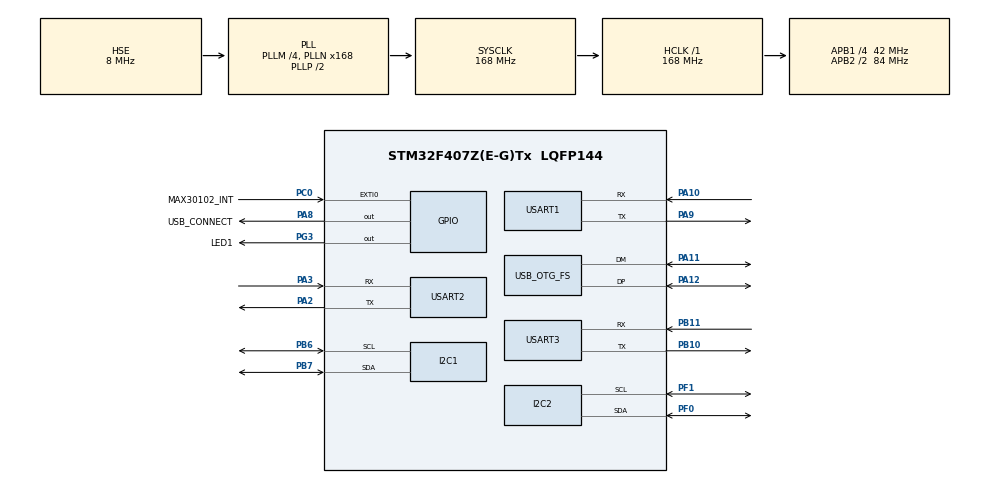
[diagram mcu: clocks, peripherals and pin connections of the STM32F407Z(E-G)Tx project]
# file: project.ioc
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Dma.Request0=USART3_RX
Dma.Request1=USART3_TX
Dma.USART3_RX.0.Direction=DMA_PERIPH_TO_MEMORY
Dma.USART3_RX.0.FIFOMode=DMA_FIFOMODE_DISABLE
Dma.USART3_RX.0.Instance=DMA1_Stream1
Dma.USART3_RX.0.MemDataAlignment=DMA_MDATAALIGN_BYTE
Dma.USART3_RX.0.MemInc=DMA_MINC_ENABLE
Dma.USART3_RX.0.Mode=DMA_NORMAL
Dma.USART3_RX.0.PeriphDataAlignment=DMA_PDATAALIGN_BYTE
Dma.USART3_RX.0.PeriphInc=DMA_PINC_DISABLE
Dma.USART3_RX.0.Priority=DMA_PRIORITY_LOW
Dma.USART3_TX.1.Direction=DMA_MEMORY_TO_PERIPH
Dma.USART3_TX.1.FIFOMode=DMA_FIFOMODE_DISABLE
Dma.USART3_TX.1.Instance=DMA1_Stream3
Dma.USART3_TX.1.MemDataAlignment=DMA_MDATAALIGN_BYTE
Dma.USART3_TX.1.MemInc=DMA_MINC_ENABLE
Dma.USART3_TX.1.Mode=DMA_NORMAL
Dma.USART3_TX.1.PeriphDataAlignment=DMA_PDATAALIGN_BYTE
Dma.USART3_TX.1.PeriphInc=DMA_PINC_DISABLE
Dma.USART3_TX.1.Priority=DMA_PRIORITY_LOW
FREERTOS.BinarySemaphores01=LED_FLAG_Sem,Dynamic,NULL
FREERTOS.INCLUDE_eTaskGetState=1
FREERTOS.INCLUDE_pcTaskGetTaskName=1
FREERTOS.INCLUDE_uxTaskGetStackHighWaterMark=1
FREERTOS.INCLUDE_uxTaskGetStackHighWaterMark2=1
FREERTOS.INCLUDE_vTaskCleanUpResources=1
FREERTOS.INCLUDE_vTaskDelayUntil=1
FREERTOS.INCLUDE_xEventGroupSetBitFromISR=1
FREERTOS.INCLUDE_xQueueGetMutexHolder=1
FREERTOS.INCLUDE_xSemaphoreGetMutexHolder=1
FREERTOS.INCLUDE_xTaskAbortDelay=1
FREERTOS.INCLUDE_xTaskGetCurrentTaskHandle=1
FREERTOS.INCLUDE_xTaskGetHandle=1
FREERTOS.INCLUDE_xTimerPendFunctionCall=1
FREERTOS.Queues01=myQueue01,16,float,0,Dynamic,NULL,NULL;myQueue02,16,_Bool,0,Dynamic,NULL,NULL
FREERTOS.Tasks01=INFO_Task,0,128,INFOTask,Default,NULL,Dynamic,NULL,NULL;BH1750_Task,0,128,BH1750Task,Default,NULL,Dynamic,NULL,NULL;LED_Task,0,128,LEDTask,Default,NULL,Dynamic,NULL,NULL;OneNET_Task,0,128,OneNETTask,Default,NULL,Dynamic,NULL,NULL;MAX30102_Task,0,128,MAX30102Task,Default,NULL,Dynamic,NULL,NULL
FREERTOS.Timers01=myTimer01,myTimer01_Callback,osTimerPeriodic,Default,NULL,Dynamic,NULL
FREERTOS.configUSE_TIMERS=1
Mcu.Family=STM32F4
Mcu.Name=STM32F407Z(E-G)Tx
Mcu.Package=LQFP144
NVIC.DMA1_Stream1_IRQn=true\:5\:0\:false\:false\:true\:true\:false\:true
NVIC.DMA1_Stream3_IRQn=true\:5\:0\:false\:false\:true\:true\:false\:true
NVIC.EXTI0_IRQn=true\:5\:0\:false\:false\:true\:true\:true\:true
NVIC.OTG_FS_IRQn=true\:5\:0\:false\:false\:true\:true\:false\:true
NVIC.PriorityGroup=NVIC_PRIORITYGROUP_4
NVIC.TIM1_UP_TIM10_IRQn=true\:15\:0\:false\:false\:true\:false\:false\:true
NVIC.TimeBase=TIM1_UP_TIM10_IRQn
NVIC.TimeBaseIP=TIM1
NVIC.USART2_IRQn=true\:5\:0\:false\:false\:true\:true\:true\:true
NVIC.WWDG_IRQn=true\:5\:0\:false\:false\:true\:true\:true\:true
PA10.Mode=Asynchronous
PA10.Signal=USART1_RX
PA11.Mode=Device_Only
PA11.Signal=USB_OTG_FS_DM
PA12.Mode=Device_Only
PA12.Signal=USB_OTG_FS_DP
PA13.Mode=Serial_Wire
PA13.Signal=SYS_JTMS-SWDIO
PA14.Mode=Serial_Wire
PA14.Signal=SYS_JTCK-SWCLK
PA2.Mode=Asynchronous
PA2.Signal=USART2_TX
PA3.Mode=Asynchronous
PA3.Signal=USART2_RX
PA8.GPIO_Label=USB_CONNECT
PA8.GPIO_Speed=GPIO_SPEED_FREQ_VERY_HIGH
PA8.Signal=GPIO_Output
PA9.Mode=Asynchronous
PA9.Signal=USART1_TX
PB10.Mode=Asynchronous
PB10.Signal=USART3_TX
PB11.Mode=Asynchronous
PB11.Signal=USART3_RX
PB6.Mode=I2C
PB6.Signal=I2C1_SCL
PB7.Mode=I2C
PB7.Signal=I2C1_SDA
PC0.GPIO_Label=MAX30102_INT
PC0.GPIO_PuPd=GPIO_PULLUP
PC0.Signal=GPXTI0
PC14-OSC32_IN.Mode=LSE-External-Oscillator
PC14-OSC32_IN.Signal=RCC_OSC32_IN
PC15-OSC32_OUT.Mode=LSE-External-Oscillator
PC15-OSC32_OUT.Signal=RCC_OSC32_OUT
PF0.Mode=I2C
PF0.Signal=I2C2_SDA
PF1.Mode=I2C
PF1.Signal=I2C2_SCL
PG3.GPIO_Label=LED1
PG3.GPIO_PuPd=GPIO_PULLUP
PG3.GPIO_Speed=GPIO_SPEED_FREQ_VERY_HIGH
PG3.Signal=GPIO_Output
PH0-OSC_IN.Mode=HSE-External-Oscillator
PH0-OSC_IN.Signal=RCC_OSC_IN
PH1-OSC_OUT.Mode=HSE-External-Oscillator
PH1-OSC_OUT.Signal=RCC_OSC_OUT
ProjectManager.HeapSize=0x200
ProjectManager.StackSize=0x400
ProjectManager.TargetToolchain=MDK-ARM V5
RCC.48MHZClocksFreq_Value=48000000
RCC.AHBFreq_Value=168000000
RCC.APB1CLKDivider=RCC_HCLK_DIV4
RCC.APB1Freq_Value=42000000
RCC.APB1TimFreq_Value=84000000
RCC.APB2CLKDivider=RCC_HCLK_DIV2
RCC.APB2Freq_Value=84000000
RCC.APB2TimFreq_Value=168000000
RCC.CortexFreq_Value=168000000
RCC.HCLKFreq_Value=168000000
RCC.HSE_VALUE=8000000
RCC.HSI_VALUE=16000000
RCC.PLLM=4
RCC.PLLN=168
RCC.PLLQ=7
RCC.RCC_RTC_Clock_Source=RCC_RTCCLKSOURCE_LSE
RCC.RCC_RTC_Clock_SourceVirtual=RCC_RTCCLKSOURCE_LSE
RCC.SYSCLKFreq_VALUE=168000000
RCC.SYSCLKSource=RCC_SYSCLKSOURCE_PLLCLK
RCC.VCOOutputFreq_Value=336000000
RTC.Date=26
RTC.Hours=23
RTC.Month=RTC_MONTH_MAY
RTC.WeekDay=RTC_WEEKDAY_FRIDAY
RTC.Year=23
STMicroelectronics.X-CUBE-ALGOBUILD.1.3.0.LibraryCcDSPOoLibraryJjDSPOoLibrary=true
USART1.VirtualMode=VM_ASYNC
USART2.VirtualMode=VM_ASYNC
USART3.VirtualMode=VM_ASYNC
USB_DEVICE.CLASS_NAME_FS=CDC
USB_DEVICE.VirtualMode-CDC_FS=Cdc
USB_DEVICE.VirtualModeFS=Cdc_FS
USB_OTG_FS.VirtualMode=Device_Only
VP_FREERTOS_VS_CMSIS_V1.Mode=CMSIS_V1
VP_RTC_VS_RTC_Activate.Mode=RTC_Enabled
VP_RTC_VS_RTC_Calendar.Mode=RTC_Calendar
VP_STMicroelectronics.X-CUBE-ALGOBUILD_VS_DSPOoLibraryJjLibrary_1.3.0_1.3.0.Mode=DSPOoLibraryJjLibrary
VP_SYS_VS_tim1.Mode=TIM1
VP_USB_DEVICE_VS_USB_DEVICE_CDC_FS.Mode=CDC_FS
VP_WWDG_VS_WWDG.Mode=WWDG_Activate
WWDG.Counter=0x7f
WWDG.EWIMode=WWDG_EWI_ENABLE
WWDG.Prescaler=WWDG_PRESCALER_8
WWDG.Window=0x5f
board=custom

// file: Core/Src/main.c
/* USER CODE BEGIN Header */
/**
  ******************************************************************************
  * @file           : main.c
  * @brief          : Main program body
  ******************************************************************************
  * @attention
  *
  * <h2><center>&copy; Copyright (c) 2023 STMicroelectronics.
  * All rights reserved.</center></h2>
  *
  * This software component is licensed by ST under Ultimate Liberty license
  * SLA0044, the "License"; You may not use this file except in compliance with
  * the License. You may obtain a copy of the License at:
  *                             www.st.com/SLA0044
  *
  ******************************************************************************
  */
/* USER CODE END Header */
#include "main.h"
#include "cmsis_os.h"
#include "dma.h"
#include "i2c.h"
#include "rtc.h"
#include "usart.h"
#include "usb_device.h"
#include "wwdg.h"
#include "gpio.h"

/* USER CODE BEGIN Includes */
#include "COMMON/bsp_common.h"
#include "COMMON/bsp_headfile.h"
#include "usbd_cdc_if.h"

#include "BH1750/bsp_bh1750.h"
#include "ESP/bsp_esp01s.h"
#include "MQTT/MqttKit.h"
#include "ONENET/onenet.h"
#include "MAX30102/bsp_max30102.h"
#include "MAX30102/bsp_max30102_fir.h"
/* USER CODE END Includes */

void SystemClock_Config(void);
void MX_FREERTOS_Init(void);

int main(void)
{

  /* MCU Configuration--------------------------------------------------------*/

  /* Reset of all peripherals, Initializes the Flash interface and the Systick. */
  HAL_Init();

  /* Configure the system clock */
  SystemClock_Config();

  /* Initialize all configured peripherals */
  MX_GPIO_Init();
  MX_USART1_UART_Init();
  MX_I2C1_Init();
  MX_USART2_UART_Init();
  MX_I2C2_Init();
  MX_DMA_Init();
  MX_USART3_UART_Init();
  MX_WWDG_Init();
  MX_RTC_Init();
  /* USER CODE BEGIN 2 */
	MX_USB_DEVICE_Init();
  /* USER CODE END 2 */

  /* Call init function for freertos objects (in freertos.c) */
  MX_FREERTOS_Init();
  /* Start scheduler */
  osKernelStart();

  /* We should never get here as control is now taken by the scheduler */
  /* Infinite loop */
  while (1)
  {

  }
}

void SystemClock_Config(void)
{
  RCC_OscInitTypeDef RCC_OscInitStruct = {0};
  RCC_ClkInitTypeDef RCC_ClkInitStruct = {0};

  /** Configure the main internal regulator output voltage
  */
  __HAL_RCC_PWR_CLK_ENABLE();
  __HAL_PWR_VOLTAGESCALING_CONFIG(PWR_REGULATOR_VOLTAGE_SCALE1);
  /** Initializes the RCC Oscillators according to the specified parameters
  * in the RCC_OscInitTypeDef structure.
  */
  RCC_OscInitStruct.OscillatorType = RCC_OSCILLATORTYPE_HSE|RCC_OSCILLATORTYPE_LSE;
  RCC_OscInitStruct.HSEState = RCC_HSE_ON;
  RCC_OscInitStruct.LSEState = RCC_LSE_ON;
  RCC_OscInitStruct.PLL.PLLState = RCC_PLL_ON;
  RCC_OscInitStruct.PLL.PLLSource = RCC_PLLSOURCE_HSE;
  RCC_OscInitStruct.PLL.PLLM = 4;
  RCC_OscInitStruct.PLL.PLLN = 168;
  RCC_OscInitStruct.PLL.PLLP = RCC_PLLP_DIV2;
  RCC_OscInitStruct.PLL.PLLQ = 7;
  if (HAL_RCC_OscConfig(&RCC_OscInitStruct) != HAL_OK)
  {
    Error_Handler();
  }
  /** Initializes the CPU, AHB and APB buses clocks
  */
  RCC_ClkInitStruct.ClockType = RCC_CLOCKTYPE_HCLK|RCC_CLOCKTYPE_SYSCLK
                              |RCC_CLOCKTYPE_PCLK1|RCC_CLOCKTYPE_PCLK2;
  RCC_ClkInitStruct.SYSCLKSource = RCC_SYSCLKSOURCE_PLLCLK;
  RCC_ClkInitStruct.AHBCLKDivider = RCC_SYSCLK_DIV1;
  RCC_ClkInitStruct.APB1CLKDivider = RCC_HCLK_DIV4;
  RCC_ClkInitStruct.APB2CLKDivider = RCC_HCLK_DIV2;

  if (HAL_RCC_ClockConfig(&RCC_ClkInitStruct, FLASH_LATENCY_5) != HAL_OK)
  {
    Error_Handler();
  }
}

void HAL_TIM_PeriodElapsedCallback(TIM_HandleTypeDef *htim)
{
  if (htim->Instance == TIM1) {
    HAL_IncTick();
  }
}

void Error_Handler(void)
{
  __disable_irq();
  while (1)
  {
  }
}

/************************ (C) COPYRIGHT STMicroelectronics *****END OF FILE****/

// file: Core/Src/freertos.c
/* USER CODE BEGIN Header */
/**
  ******************************************************************************
  * File Name          : freertos.c
  * Description        : Code for freertos applications
  ******************************************************************************
  * @attention
  *
  * <h2><center>&copy; Copyright (c) 2023 STMicroelectronics.
  * All rights reserved.</center></h2>
  *
  * This software component is licensed by ST under Ultimate Liberty license
  * SLA0044, the "License"; You may not use this file except in compliance with
  * the License. You may obtain a copy of the License at:
  *                             www.st.com/SLA0044
  *
  ******************************************************************************
  */
/* USER CODE END Header */

#include "FreeRTOS.h"
#include "task.h"
#include "main.h"
#include "cmsis_os.h"

/* USER CODE BEGIN Includes */
#include "COMMON/bsp_common.h"
#include "COMMON/bsp_headfile.h"

#include "BH1750/bsp_bh1750.h"
#include "ESP/bsp_esp01s.h"
#include "MQTT/MqttKit.h"
#include "ONENET/onenet.h"
#include "MAX30102/bsp_max30102.h"
#include "MAX30102/bsp_max30102_fir.h"
/* USER CODE END Includes */

/* USER CODE BEGIN Variables */

RTC_DateTypeDef GetData;  //获取日期结构体
RTC_TimeTypeDef GetTime;   //获取时间结构体

uint8_t FeedDog_Flag = 0;

float LIGH_OneNET_buf;
uint8_t LEDS_OneNET_buf;
/* USER CODE END Variables */
osThreadId INFO_TaskHandle;
osThreadId BH1750_TaskHandle;
osThreadId LED_TaskHandle;
osThreadId OneNET_TaskHandle;
osThreadId MAX30102_TaskHandle;
osMessageQId myQueue01Handle;
osMessageQId myQueue02Handle;
osTimerId myTimer01Handle;
osSemaphoreId LED_FLAG_SemHandle;

void INFOTask(void const * argument);
void BH1750Task(void const * argument);
void LEDTask(void const * argument);
void OneNETTask(void const * argument);
void MAX30102Task(void const * argument);
void myTimer01_Callback(void const * argument);

extern void MX_USB_DEVICE_Init(void);
void MX_FREERTOS_Init(void); /* (MISRA C 2004 rule 8.1) */

/* GetIdleTaskMemory prototype (linked to static allocation support) */
void vApplicationGetIdleTaskMemory( StaticTask_t **ppxIdleTaskTCBBuffer, StackType_t **ppxIdleTaskStackBuffer, uint32_t *pulIdleTaskStackSize );

/* GetTimerTaskMemory prototype (linked to static allocation support) */
void vApplicationGetTimerTaskMemory( StaticTask_t **ppxTimerTaskTCBBuffer, StackType_t **ppxTimerTaskStackBuffer, uint32_t *pulTimerTaskStackSize );

/* USER CODE BEGIN GET_IDLE_TASK_MEMORY */
static StaticTask_t xIdleTaskTCBBuffer;
static StackType_t xIdleStack[configMINIMAL_STACK_SIZE];

void vApplicationGetIdleTaskMemory( StaticTask_t **ppxIdleTaskTCBBuffer, StackType_t **ppxIdleTaskStackBuffer, uint32_t *pulIdleTaskStackSize )
{
  *ppxIdleTaskTCBBuffer = &xIdleTaskTCBBuffer;
  *ppxIdleTaskStackBuffer = &xIdleStack[0];
  *pulIdleTaskStackSize = configMINIMAL_STACK_SIZE;
  /* place for user code */
}
/* USER CODE END GET_IDLE_TASK_MEMORY */

/* USER CODE BEGIN GET_TIMER_TASK_MEMORY */
static StaticTask_t xTimerTaskTCBBuffer;
static StackType_t xTimerStack[configTIMER_TASK_STACK_DEPTH];

void vApplicationGetTimerTaskMemory( StaticTask_t **ppxTimerTaskTCBBuffer, StackType_t **ppxTimerTaskStackBuffer, uint32_t *pulTimerTaskStackSize )
{
  *ppxTimerTaskTCBBuffer = &xTimerTaskTCBBuffer;
  *ppxTimerTaskStackBuffer = &xTimerStack[0];
  *pulTimerTaskStackSize = configTIMER_TASK_STACK_DEPTH;
  /* place for user code */
}
/* USER CODE END GET_TIMER_TASK_MEMORY */

void MX_FREERTOS_Init(void) {

  /* Create the semaphores(s) */
  /* definition and creation of LED_FLAG_Sem */
  osSemaphoreDef(LED_FLAG_Sem);
  LED_FLAG_SemHandle = osSemaphoreCreate(osSemaphore(LED_FLAG_Sem), 1);

  /* Create the timer(s) */
  /* definition and creation of myTimer01 */
  osTimerDef(myTimer01, myTimer01_Callback);
  myTimer01Handle = osTimerCreate(osTimer(myTimer01), osTimerPeriodic, NULL);

  /* USER CODE BEGIN RTOS_TIMERS */
  /* start timers, add new ones, ... */
	osTimerStart(myTimer01Handle,5000);
  /* USER CODE END RTOS_TIMERS */

  /* Create the queue(s) */
  /* definition and creation of myQueue01 */
  osMessageQDef(myQueue01, 16, float);
  myQueue01Handle = osMessageCreate(osMessageQ(myQueue01), NULL);

  /* definition and creation of myQueue02 */
  osMessageQDef(myQueue02, 16, _Bool);
  myQueue02Handle = osMessageCreate(osMessageQ(myQueue02), NULL);

  /* Create the thread(s) */
  /* definition and creation of INFO_Task */
  osThreadDef(INFO_Task, INFOTask, osPriorityNormal, 0, 128);
  INFO_TaskHandle = osThreadCreate(osThread(INFO_Task), NULL);

  /* definition and creation of BH1750_Task */
  osThreadDef(BH1750_Task, BH1750Task, osPriorityNormal, 0, 128);
  BH1750_TaskHandle = osThreadCreate(osThread(BH1750_Task), NULL);

  /* definition and creation of LED_Task */
  osThreadDef(LED_Task, LEDTask, osPriorityNormal, 0, 128);
  LED_TaskHandle = osThreadCreate(osThread(LED_Task), NULL);

  /* definition and creation of OneNET_Task */
  osThreadDef(OneNET_Task, OneNETTask, osPriorityNormal, 0, 128);
  OneNET_TaskHandle = osThreadCreate(osThread(OneNET_Task), NULL);

  /* definition and creation of MAX30102_Task */
  osThreadDef(MAX30102_Task, MAX30102Task, osPriorityNormal, 0, 128);
  MAX30102_TaskHandle = osThreadCreate(osThread(MAX30102_Task), NULL);

}

void INFOTask(void const * argument)
{
  /* init code for USB_DEVICE */
  MX_USB_DEVICE_Init();
  /* USER CODE BEGIN INFOTask */
	_Bool LED_FLAG;
  /* Infinite loop */
  for(;;)
  {
		xQueueReceive(myQueue02Handle,&LED_FLAG,portMAX_DELAY);						//接收消息队列中LED开启标志位的最新状态
		if(LED_FLAG)
		{
			usb_printf("\r\nLED ON\r\n");
			LED_FLAG = NULL;
		}else{
			usb_printf("\r\nLED OFF\r\n");
			LED_FLAG = NULL;
		}

    osDelay(1);
  }
  /* USER CODE END INFOTask */
}

void BH1750Task(void const * argument)
{
  /* USER CODE BEGIN BH1750Task */
	float LIGH = 0;
	uint8_t opecode;
	int dis_data = 0;
	uint8_t DATA_BUF[8] = { 0 };

	Init_BH1750();
	HAL_Delay(200);
  /* Infinite loop */
  for(;;)
  {
		opecode = 0x01;
		if ( I2C_BH1750_Opecode_Write(&opecode, 1) != HAL_OK){
			usb_printf("I2C_BH1750_Opecode_Write: %2x Error\n", opecode);
			continue;
		}
		opecode = 0x10;
		if ( I2C_BH1750_Opecode_Write(&opecode, 1) != HAL_OK){
			usb_printf("I2C_BH1750_Opecode_Write: %2x Error\n", opecode);
			continue;
		}
		HAL_Delay(200);
		if ( I2C_BH1750_Data_Read(DATA_BUF, 2) != HAL_OK){
			usb_printf("I2C_BH1750_Data_Read:  Error\n");
			continue;
		}
		dis_data = (DATA_BUF[0] << 8) + DATA_BUF[1];											//合成数据
		LIGH=(float)dis_data/1.2f;																				//数据计算处理
		LIGH_OneNET_buf = LIGH;																						//将光照强度数据放入onenet的数据缓冲区中，准备发送到云平台
		xQueueSendToFront(myQueue01Handle,&LIGH,portMAX_DELAY);						//myQueue01消息队列用于BH1750Task与LEDTask进行数据交换

    osDelay(1);
  }
  /* USER CODE END BH1750Task */
}

void LEDTask(void const * argument)
{
  /* USER CODE BEGIN LEDTask */
	float LIGH = 0;
	_Bool LED_FLAG;
  /* Infinite loop */
  for(;;)
  {
		xQueueReceive(myQueue01Handle,&LIGH,portMAX_DELAY);
		if(LIGH<20)
		{
			LED_ON;																													//开灯
			LED_FLAG =1;
			if(xSemaphoreGive(LED_FLAG_SemHandle) == pdTRUE)								//如果开启LED(光照强度小于20)，则释放信号量，LED_FLAG_Sem加1
			{
				xQueueSendToFront(myQueue02Handle,&LED_FLAG,portMAX_DELAY);		//myQueue02消息队列用于INFOTask与LEDTask进行数据交换
			}
		}
		else
		{
			LED_OFF;																												//关灯
			LED_FLAG =0;
			if(xSemaphoreTake(LED_FLAG_SemHandle,0) == pdTRUE)							//如果关闭LED(光照强度大于20)，则获取信号量，LED_FLAG_Sem减1，如果信号量无余量，则立即返回
			{
				xQueueSendToFront(myQueue02Handle,&LED_FLAG,portMAX_DELAY);		//myQueue02消息队列用于INFOTask与LEDTask进行数据交换
			}
		}
		LEDS_OneNET_buf = LED_FLAG;
    osDelay(1);
	}
  /* USER CODE END LEDTask */
}

void OneNETTask(void const * argument)
{
  /* USER CODE BEGIN OneNETTask */
  unsigned short timeCount = 0;
	unsigned char *dataPtr = NULL;

	ESP8266_Init();
	while(OneNet_DevLink());
	usb_printf("连接ONENET成功\t[OK]\r\n");

  /* Infinite loop */
  for(;;)
  {
		if(++timeCount >= 100)				//2500ms / 25 = 100 发送间隔2500ms
		{
			OneNet_SendData();					//打包数据包发送到ONENET云平台，一次只能打包一个数据流发送，若要发得更快就调整发送时间间隔
			timeCount = 0;							//时间间隔计时清0
			ESP8266_Clear();						//数据包清空
		}
		dataPtr = ESP8266_GetIPD(3);	//检测平台是否有响应
		if(dataPtr != NULL)
		{
			OneNet_RevPro(dataPtr);
		}

    osDelay(1);
  }
  /* USER CODE END OneNETTask */
}

void MAX30102Task(void const * argument)
{
  /* USER CODE BEGIN MAX30102Task */
	uint16_t HeartRate = 0;
	float SpO2 = 0;
  /* Infinite loop */
	max30102_init();
  max30102_fir_init();

  float max30102_data[2], fir_output[2];
  usb_printf("Max30102 Init\r\n");

  for(;;)
  {
		if(MAX30102_Get_DATA(&HeartRate,&SpO2,max30102_data,fir_output) == MAX30102_DATA_OK)
	{
	   usb_printf("心率：%d  次/min   ", HeartRate);
     usb_printf("血氧：%.2f  %%\r\n", SpO2);
	}

    osDelay(1);
  }
  /* USER CODE END MAX30102Task */
}

/* myTimer01_Callback function */
void myTimer01_Callback(void const * argument)
{
  /* USER CODE BEGIN myTimer01_Callback */
	HAL_RTC_GetTime(&hrtc, &GetTime, RTC_FORMAT_BIN);
	/* Get the RTC current Date */
	HAL_RTC_GetDate(&hrtc, &GetData, RTC_FORMAT_BIN);

	if (FeedDog_Flag == FeedDog)
	{
		FeedDog_Flag = NoFeedDog;
//		usb_printf("\r\n FeedDog OK\r\n");

		usb_printf("%02d/%02d/%02d\r\n",2000 + GetData.Year, GetData.Month, GetData.Date);

		usb_printf("%02d:%02d:%02d\r\n",GetTime.Hours, GetTime.Minutes, GetTime.Seconds);
	}
  /* USER CODE END myTimer01_Callback */
}

/************************ (C) COPYRIGHT STMicroelectronics *****END OF FILE****/
